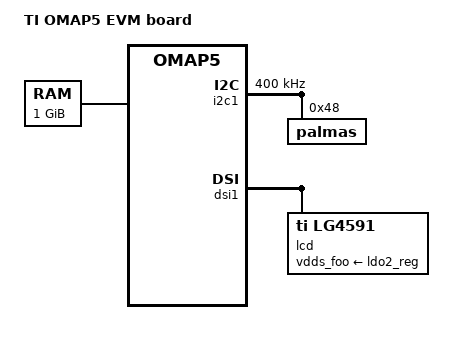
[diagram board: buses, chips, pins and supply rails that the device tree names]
/*
 * Copyright (C) 2012 Texas Instruments Incorporated - http://www.ti.com/
 *
 * This program is free software; you can redistribute it and/or modify
 * it under the terms of the GNU General Public License version 2 as
 * published by the Free Software Foundation.
 */
/dts-v1/;

/include/ "omap5.dtsi"

/ {
	model = "TI OMAP5 EVM board";
	compatible = "ti,omap5-evm", "ti,omap5";

	memory {
		device_type = "memory";
		reg = <0x80000000 0x40000000>; /* 1 GB */
	};
};

&i2c1 {
	clock-frequency = <400000>;

	palmas: palmas@48 {
		reg = <0x48>;
		/* SPI = 0, IRQ# = 7, 4 = active high level-sensitive */
		interrupts = <0 7 4>; /* IRQ_SYS_1N cascaded to gic */
		interrupt-parent = <&gic>;
	};

};

&dsi1 {
	lcd {
		compatible = "ti,lg4591";

		lanes = <
			0       /* clk + */
			1       /* clk - */
			2       /* data1 + */
			3       /* data1 - */
			4       /* data2 + */
			5       /* data2 - */
			6       /* data3 + */
			7       /* data3 - */
			8       /* data4 + */
			9       /* data4 - */
		>;

		vdds_foo-supply = <&ldo2_reg>;

		reset-gpio = <183>;
	};
};

/include/ "palmas.dtsi"
